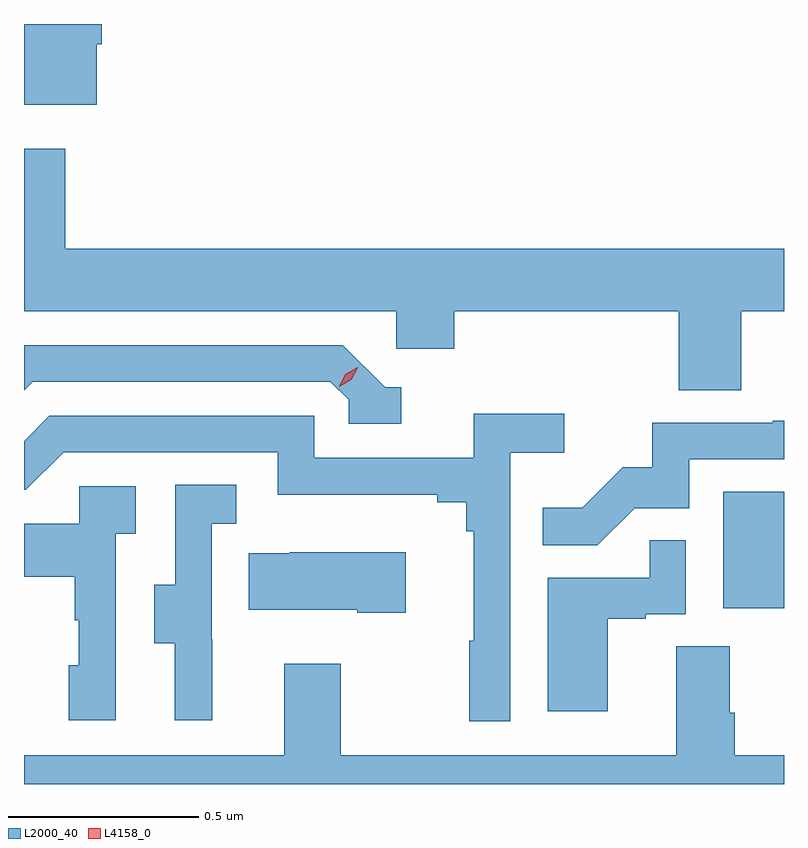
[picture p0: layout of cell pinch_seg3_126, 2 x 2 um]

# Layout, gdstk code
import gdstk
lib = gdstk.Library(unit=1e-6, precision=1e-09)
def R(c, l, rs):  # rectangles x0, y0, x1, y1
    for r in rs: c.add(gdstk.rectangle(r[:2], r[2:], *l))
def P(c, l, *ps):  # polygons
    for p in ps: c.add(gdstk.Polygon(p, *l))
L2000_40 = (2000, 40)
L4158_0 = (4158, 0)

pinch_seg3_126 = lib.new_cell('pinch_seg3_126')
R(pinch_seg3_126, L2000_40, [(1074.23,713.454,1074.39,713.761)])
P(pinch_seg3_126, L2000_40, [(1072.582,714.939),(1072.594,714.939),(1072.594,714.992),(1072.39,714.992),(1072.39,714.779),(1072.582,714.779)],
  [(1074.278,714.236),(1074.39,714.236),(1074.39,714.4),(1072.499,714.4),(1072.499,714.664),(1072.39,714.664),(1072.39,714.236),(1073.37,714.236),(1073.37,714.138),(1073.522,714.138),(1073.522,714.236),(1074.113,714.236),(1074.113,714.028),(1074.278,714.028)],
  [(1073.383,714.036),(1073.34,714.036),(1073.229,714.147),(1072.39,714.147),(1072.39,714.028),(1072.413,714.051),(1073.196,714.051),(1073.244,714.003),(1073.244,713.94),(1073.383,713.94)],
  [(1073.67,713.864),(1073.812,713.864),(1073.812,713.966),(1073.573,713.966),(1073.573,713.85),(1073.154,713.85),(1073.154,713.961),(1072.457,713.961),(1072.39,713.894),(1072.39,713.766),(1072.395,713.766),(1072.494,713.865),(1073.058,713.865),(1073.058,713.753),(1073.477,713.753),(1073.477,713.734),(1073.554,713.734),(1073.554,713.657),(1073.573,713.657),(1073.573,713.369),(1073.562,713.369),(1073.562,713.157),(1073.67,713.157)],
  [(1073.997,713.718),(1074.141,713.718),(1074.141,713.847),(1074.39,713.847),(1074.39,713.948),(1074.361,713.948),(1074.361,713.943),(1074.043,713.943),(1074.043,713.826),(1073.966,713.826),(1073.859,713.719),(1073.755,713.719),(1073.755,713.62),(1073.899,713.62)],
  [(1072.886,713.373),(1072.884,713.373),(1072.884,713.677),(1072.948,713.677),(1072.948,713.78),(1072.788,713.78),(1072.788,713.517),(1072.733,713.517),(1072.733,713.362),(1072.787,713.362),(1072.787,713.16),(1072.886,713.16)],
  [(1072.632,713.651),(1072.684,713.651),(1072.684,713.775),(1072.536,713.775),(1072.536,713.677),(1072.39,713.677),(1072.39,713.537),(1072.524,713.537),(1072.524,713.423),(1072.534,713.423),(1072.534,713.304),(1072.508,713.304),(1072.508,713.16),(1072.632,713.16)],
  [(1073.926,713.427),(1074.026,713.427),(1074.026,713.439),(1074.132,713.439),(1074.132,713.633),(1074.037,713.633),(1074.037,713.535),(1073.768,713.535),(1073.768,713.184),(1073.926,713.184)],
  [(1073.395,713.602),(1073.089,713.602),(1073.089,713.599),(1072.981,713.599),(1072.981,713.45),(1073.267,713.45),(1073.267,713.443),(1073.395,713.443)],
  [(1074.39,713.068),(1074.26,713.068),(1074.26,713.18),(1074.247,713.18),(1074.247,713.354),(1074.107,713.354),(1074.107,713.068),(1073.223,713.068),(1073.223,713.308),(1073.075,713.308),(1073.075,713.068),(1072.39,713.068),(1072.39,712.992),(1074.39,712.992)])
P(pinch_seg3_126, L4158_0, [(1073.22,714.037),(1073.22,714.037),(1073.236,714.07),(1073.268,714.089),(1073.268,714.089),(1073.268,714.088),(1073.251,714.056),(1073.22,714.037)])

lib.write_gds('pinch_seg3_126.gds')
